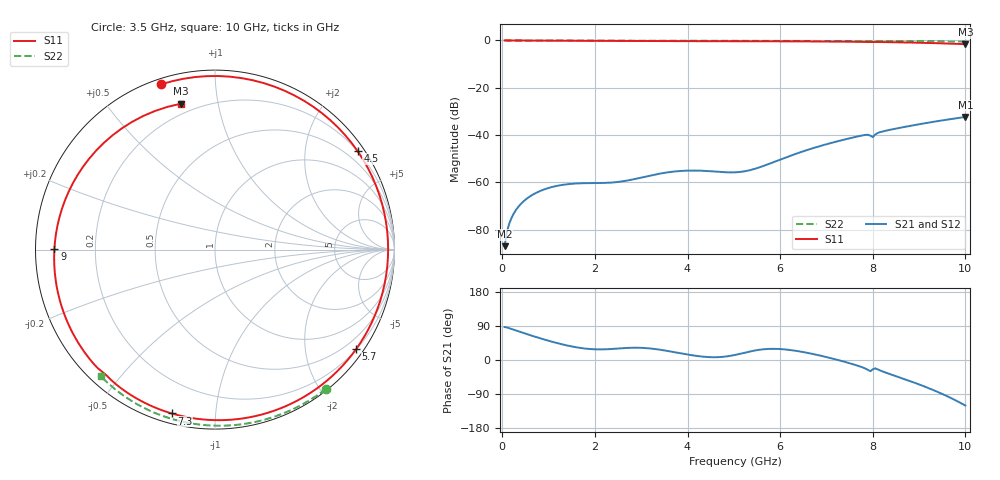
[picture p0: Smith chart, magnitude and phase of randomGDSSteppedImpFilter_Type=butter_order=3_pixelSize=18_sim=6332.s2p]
! freq	dB(S11)	phase(S11)	dB(S12)	phase(S12)
!  dB(S21)	phase(S21)	dB(S22)	phase(S22)
!S-par simulation data
#  GHz  S  DB  R 50
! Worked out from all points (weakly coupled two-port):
!   200 points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, 50 MHz to 10 GHz, reference 50 ohm
!   highest |S21| = -32.35 dB at 10 GHz (marker M1); lowest = -87.0 dB at 50 MHz (marker M2)
!   lowest |S11| = -1.6 dB at 10 GHz (marker M3), VSWR 11.11, Z = 7.28 + j39.1 ohm
!   |S11| at or under -10 dB: nowhere
!   |S22| runs from -0.4 to 0.0 dB; largest |S21 - S12| = 0
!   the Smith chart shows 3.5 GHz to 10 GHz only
!   S11 on the Smith chart (normalised r, x): 3.5 GHz: 0.02, +0.73; 4.5 GHz: 0.20, +3.19; 5.7 GHz: 0.21, -3.14; 7.3 GHz: 0.05, -0.77; 9 GHz: 0.06, +0.00; 10 GHz: 0.15, +0.78
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0.05  -0.00 -3.5  -87.03 86.9  -87.03 86.9  -0.00 -0.8
0.1  -0.01 -6.9  -80.97 85.9  -80.97 85.9  -0.00 -1.5
0.45  -0.04 -30.7  -68.21 71.5  -68.21 71.5  -0.01 -6.8
0.95  -0.08 -64.8  -62.71 52.5  -62.71 52.5  -0.02 -14.4
1.35  -0.12 -92.3  -60.96 39.7  -60.96 39.7  -0.03 -20.4
1.75  -0.15 -120.3  -60.39 30.8  -60.39 30.8  -0.03 -26.3
2.2  -0.19 -152.6  -60.27 28.1  -60.27 28.1  -0.04 -32.9
2.6  -0.22 177.6  -59.59 31.1  -59.59 31.1  -0.05 -38.7
3  -0.25 146.9  -58.01 32.1  -58.01 32.1  -0.06 -44.5
3.4  -0.27 115.8  -56.35 27.2  -56.35 27.2  -0.07 -50.1
3.5  -0.28 108.0  -56.01 25.3  -56.01 25.3  -0.07 -51.5
3.95  -0.30 73.7  -55.10 15.5  -55.10 15.5  -0.08 -57.8
4.5  -0.30 34.7  -55.33 7.5  -55.33 7.5  -0.09 -65.2
5.05  -0.31 0.0  -55.76 14.0  -55.76 14.0  -0.11 -72.5
5.7  -0.34 -35.2  -52.64 28.9  -52.64 28.9  -0.13 -80.9
6.7  -0.41 -80.4  -45.62 16.1  -45.62 16.1  -0.18 -93.5
7.3  -0.50 -104.8  -42.35 -1.7  -42.35 -1.7  -0.21 -100.7
8  -0.66 -132.6  -40.89 -24.5  -40.89 -24.5  -0.26 -109.0
8.35  -0.72 -148.0  -37.89 -36.3  -37.89 -36.3  -0.29 -113.1
9  -0.96 179.9  -35.45 -64.5  -35.45 -64.5  -0.34 -120.6
9.55  -1.26 144.0  -33.67 -92.3  -33.67 -92.3  -0.40 -126.9
10  -1.57 103.3  -32.35 -120.2  -32.35 -120.2  -0.45 -132.0
